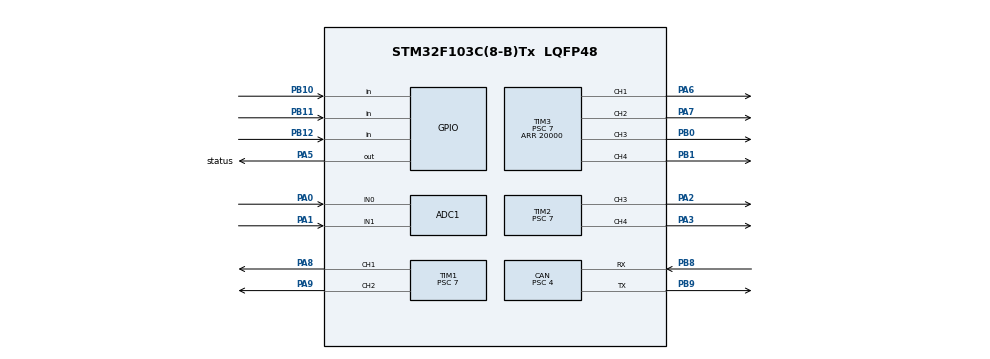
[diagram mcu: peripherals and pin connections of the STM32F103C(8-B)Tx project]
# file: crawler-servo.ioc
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ADC1.Channel-0\#ChannelRegularConversion=ADC_CHANNEL_0
ADC1.Channel-1\#ChannelRegularConversion=ADC_CHANNEL_1
ADC1.NbrOfConversion=2
ADC1.NbrOfConversionFlag=1
ADC1.Rank-0\#ChannelRegularConversion=1
ADC1.Rank-1\#ChannelRegularConversion=2
ADC1.SamplingTime-0\#ChannelRegularConversion=ADC_SAMPLETIME_1CYCLE_5
ADC1.SamplingTime-1\#ChannelRegularConversion=ADC_SAMPLETIME_1CYCLE_5
ADC1.master=1
CAN.BS1=CAN_BS1_2TQ
CAN.CalculateBaudRate=500000
CAN.CalculateTimeBit=2000
CAN.CalculateTimeQuantum=500.0
CAN.Prescaler=4
Dma.ADC1.0.Direction=DMA_PERIPH_TO_MEMORY
Dma.ADC1.0.Instance=DMA1_Channel1
Dma.ADC1.0.MemDataAlignment=DMA_MDATAALIGN_WORD
Dma.ADC1.0.MemInc=DMA_MINC_ENABLE
Dma.ADC1.0.Mode=DMA_CIRCULAR
Dma.ADC1.0.PeriphDataAlignment=DMA_PDATAALIGN_HALFWORD
Dma.ADC1.0.PeriphInc=DMA_PINC_DISABLE
Dma.ADC1.0.Priority=DMA_PRIORITY_LOW
Dma.Request0=ADC1
Mcu.Family=STM32F1
Mcu.Name=STM32F103C(8-B)Tx
Mcu.Package=LQFP48
NVIC.DMA1_Channel1_IRQn=true\:0\:0\:false\:false\:true\:false\:true\:true
NVIC.PriorityGroup=NVIC_PRIORITYGROUP_4
NVIC.USB_LP_CAN1_RX0_IRQn=true\:0\:0\:false\:false\:true\:true\:true\:true
PA0-WKUP.Signal=ADCx_IN0
PA1.Signal=ADCx_IN1
PA2.Signal=S_TIM2_CH3
PA3.Signal=S_TIM2_CH4
PA5.GPIO_Label=status
PA5.Signal=GPIO_Output
PA6.Signal=S_TIM3_CH1
PA7.Signal=S_TIM3_CH2
PA8.Signal=S_TIM1_CH1
PA9.Signal=S_TIM1_CH2
PB0.Signal=S_TIM3_CH3
PB1.Signal=S_TIM3_CH4
PB10.GPIO_PuPd=GPIO_PULLUP
PB10.Signal=GPIO_Input
PB11.GPIO_PuPd=GPIO_PULLUP
PB11.Signal=GPIO_Input
PB12.GPIO_PuPd=GPIO_PULLUP
PB12.Signal=GPIO_Input
PB8.Mode=CAN_Activate
PB8.Signal=CAN_RX
PB9.Mode=CAN_Activate
PB9.Signal=CAN_TX
PD0-OSC_IN.Mode=HSE-External-Oscillator
PD0-OSC_IN.Signal=RCC_OSC_IN
PD1-OSC_OUT.Mode=HSE-External-Oscillator
PD1-OSC_OUT.Signal=RCC_OSC_OUT
ProjectManager.HeapSize=0x200
ProjectManager.StackSize=0x400
ProjectManager.TargetToolchain=Makefile
RCC.APB1Freq_Value=8000000
RCC.APB1TimFreq_Value=8000000
RCC.APB2Freq_Value=8000000
SH.ADCx_IN0.0=ADC1_IN0,IN0
SH.ADCx_IN1.0=ADC1_IN1,IN1
SH.S_TIM1_CH1.0=TIM1_CH1,PWM Generation1 CH1
SH.S_TIM1_CH2.0=TIM1_CH2,PWM Generation2 CH2
SH.S_TIM2_CH3.0=TIM2_CH3,PWM Generation3 CH3
SH.S_TIM2_CH4.0=TIM2_CH4,PWM Generation4 CH4
SH.S_TIM3_CH1.0=TIM3_CH1,PWM Generation1 CH1
SH.S_TIM3_CH2.0=TIM3_CH2,PWM Generation2 CH2
SH.S_TIM3_CH3.0=TIM3_CH3,PWM Generation3 CH3
SH.S_TIM3_CH4.0=TIM3_CH4,PWM Generation4 CH4
TIM1.Channel-PWM\ Generation1\ CH1=TIM_CHANNEL_1
TIM1.Channel-PWM\ Generation2\ CH2=TIM_CHANNEL_2
TIM1.ClockDivision=TIM_CLOCKDIVISION_DIV1
TIM1.Period=20000
TIM1.Prescaler=7
TIM1.Pulse-PWM\ Generation1\ CH1=1500
TIM1.Pulse-PWM\ Generation2\ CH2=1500
TIM2.Channel-PWM\ Generation3\ CH3=TIM_CHANNEL_3
TIM2.Channel-PWM\ Generation4\ CH4=TIM_CHANNEL_4
TIM2.Period=20000
TIM2.Prescaler=7
TIM3.Channel-PWM\ Generation1\ CH1=TIM_CHANNEL_1
TIM3.Channel-PWM\ Generation2\ CH2=TIM_CHANNEL_2
TIM3.Channel-PWM\ Generation3\ CH3=TIM_CHANNEL_3
TIM3.Channel-PWM\ Generation4\ CH4=TIM_CHANNEL_4
TIM3.Period=20000
TIM3.Prescaler=7
VP_SYS_VS_ND.Mode=No_Debug
VP_TIM1_VS_ClockSourceINT.Mode=Internal
VP_TIM2_VS_ClockSourceINT.Mode=Internal
VP_TIM3_VS_ClockSourceINT.Mode=Internal
board=custom

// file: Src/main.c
/* USER CODE BEGIN Header */
/**
  ******************************************************************************
  * @file           : main.c
  * @brief          : Main program body
  ******************************************************************************
  * @attention
  *
  * Copyright (c) 2023 STMicroelectronics.
  * All rights reserved.
  *
  * This software is licensed under terms that can be found in the LICENSE file
  * in the root directory of this software component.
  * If no LICENSE file comes with this software, it is provided AS-IS.
  *
  ******************************************************************************
  */
/* USER CODE END Header */
#include "main.h"

/* USER CODE BEGIN PD */
#define BASE_CHANNEL_ID 0x010 //TODO: Read from DIP switches
#define N_CHANNELS 8
#define SERVO_CENTER 1500
#define SAFETY_TIMEOUT 2000
#define CAN_MESSAGES 2 //number of different messages to send over CAN bus

/* USER CODE END PD */

ADC_HandleTypeDef hadc1;
DMA_HandleTypeDef hdma_adc1;

CAN_HandleTypeDef hcan;

TIM_HandleTypeDef htim1;
TIM_HandleTypeDef htim2;
TIM_HandleTypeDef htim3;

/* USER CODE BEGIN PV */
//CAN bus
CAN_RxHeaderTypeDef rxHeader; //Transmit Header
CAN_TxHeaderTypeDef txHeader; //Receive Header
uint8_t canRX[8] = {0,0,0,0,0,0,0,0};  //Receive Buffer
CAN_FilterTypeDef canfil; //Filter
uint32_t canMailbox; //Mail box variable

//Servo
uint32_t servoLastUpdated[N_CHANNELS] = {0}; //timestamps for timeout

//ADC
uint32_t ADCResults[2] = {0,0}; //ADC results
/* USER CODE END PV */

void SystemClock_Config(void);
static void MX_GPIO_Init(void);
static void MX_DMA_Init(void);
static void MX_ADC1_Init(void);
static void MX_CAN_Init(void);
static void MX_TIM1_Init(void);
static void MX_TIM2_Init(void);
static void MX_TIM3_Init(void);
/* USER CODE BEGIN PFP */
void setServo(uint8_t channel, uint16_t value);

/* USER CODE END PFP */

int main(void)
{

  /* MCU Configuration--------------------------------------------------------*/

  /* Reset of all peripherals, Initializes the Flash interface and the Systick. */
  HAL_Init();

  /* Configure the system clock */
  SystemClock_Config();

  /* Initialize all configured peripherals */
  MX_GPIO_Init();
  MX_DMA_Init();
  MX_ADC1_Init();
  MX_CAN_Init();
  MX_TIM1_Init();
  MX_TIM2_Init();
  MX_TIM3_Init();
  /* USER CODE BEGIN 2 */

  uint32_t CANAddress = (
    HAL_GPIO_ReadPin(GPIOB, GPIO_PIN_10) << 0 |
    HAL_GPIO_ReadPin(GPIOB, GPIO_PIN_11) << 1 |
    HAL_GPIO_ReadPin(GPIOB, GPIO_PIN_12) << 2
    ) << 4;

  //setup servos
  for(int i=0; i<N_CHANNELS; i++)
    setServo(i, SERVO_CENTER);
  /* USER CODE END 2 */

  /* Infinite loop */
  /* USER CODE BEGIN WHILE */
  uint32_t txMailbox;
  while (1)
  {
    HAL_GPIO_WritePin(status_GPIO_Port, status_Pin, GPIO_PIN_SET);

    //transmit status
    if (HAL_CAN_GetTxMailboxesFreeLevel(&hcan) > 0){
            //set address
            static uint8_t TXCounter = 0;
            uint8_t data[2] = {0};
            txHeader.StdId = CANAddress | 0x8 | (TXCounter & 0b111);

            //fetch correct data
            switch(TXCounter){
                case 0: //battery voltage
                    data[0] = ADCResults[0] & 0xff;
                    data[1] = (ADCResults[0]>>8) & 0xff;
                    break;
                case 1: //battery current
                    data[0] = ADCResults[1] & 0xff;
                    data[1] = (ADCResults[1]>>8) & 0xff;
                    break;
            }

            //send
            HAL_CAN_AddTxMessage(&hcan, &txHeader, data, &txMailbox);

            //next address
            TXCounter++;
            if (TXCounter > CAN_MESSAGES-1)
                TXCounter = 0;
    }

    HAL_ADC_Start_DMA(&hadc1, ADCResults, 2); // start adc in DMA mode

    //center any channel that hasn't been updated for a while
    for(int i=0; i<N_CHANNELS; i++){
        if ( (HAL_GetTick() - servoLastUpdated[i]) > SAFETY_TIMEOUT)
            setServo(i, SERVO_CENTER);
    }

    HAL_GPIO_WritePin(status_GPIO_Port, status_Pin, GPIO_PIN_RESET);
    HAL_Delay(1000/(CAN_MESSAGES*3));
    /* USER CODE END WHILE */

  }
}

void SystemClock_Config(void)
{
  RCC_OscInitTypeDef RCC_OscInitStruct = {0};
  RCC_ClkInitTypeDef RCC_ClkInitStruct = {0};
  RCC_PeriphCLKInitTypeDef PeriphClkInit = {0};

  /** Initializes the RCC Oscillators according to the specified parameters
  * in the RCC_OscInitTypeDef structure.
  */
  RCC_OscInitStruct.OscillatorType = RCC_OSCILLATORTYPE_HSI;
  RCC_OscInitStruct.HSIState = RCC_HSI_ON;
  RCC_OscInitStruct.HSICalibrationValue = RCC_HSICALIBRATION_DEFAULT;
  RCC_OscInitStruct.PLL.PLLState = RCC_PLL_NONE;
  if (HAL_RCC_OscConfig(&RCC_OscInitStruct) != HAL_OK)
  {
    Error_Handler();
  }

  /** Initializes the CPU, AHB and APB buses clocks
  */
  RCC_ClkInitStruct.ClockType = RCC_CLOCKTYPE_HCLK|RCC_CLOCKTYPE_SYSCLK
                              |RCC_CLOCKTYPE_PCLK1|RCC_CLOCKTYPE_PCLK2;
  RCC_ClkInitStruct.SYSCLKSource = RCC_SYSCLKSOURCE_HSI;
  RCC_ClkInitStruct.AHBCLKDivider = RCC_SYSCLK_DIV1;
  RCC_ClkInitStruct.APB1CLKDivider = RCC_HCLK_DIV1;
  RCC_ClkInitStruct.APB2CLKDivider = RCC_HCLK_DIV1;

  if (HAL_RCC_ClockConfig(&RCC_ClkInitStruct, FLASH_LATENCY_0) != HAL_OK)
  {
    Error_Handler();
  }
  PeriphClkInit.PeriphClockSelection = RCC_PERIPHCLK_ADC;
  PeriphClkInit.AdcClockSelection = RCC_ADCPCLK2_DIV2;
  if (HAL_RCCEx_PeriphCLKConfig(&PeriphClkInit) != HAL_OK)
  {
    Error_Handler();
  }
}

static void MX_ADC1_Init(void)
{

  ADC_ChannelConfTypeDef sConfig = {0};

  /** Common config
  */
  hadc1.Instance = ADC1;
  hadc1.Init.ScanConvMode = ADC_SCAN_ENABLE;
  hadc1.Init.ContinuousConvMode = DISABLE;
  hadc1.Init.DiscontinuousConvMode = DISABLE;
  hadc1.Init.ExternalTrigConv = ADC_SOFTWARE_START;
  hadc1.Init.DataAlign = ADC_DATAALIGN_RIGHT;
  hadc1.Init.NbrOfConversion = 2;
  if (HAL_ADC_Init(&hadc1) != HAL_OK)
  {
    Error_Handler();
  }

  /** Configure Regular Channel
  */
  sConfig.Channel = ADC_CHANNEL_0;
  sConfig.Rank = ADC_REGULAR_RANK_1;
  sConfig.SamplingTime = ADC_SAMPLETIME_1CYCLE_5;
  if (HAL_ADC_ConfigChannel(&hadc1, &sConfig) != HAL_OK)
  {
    Error_Handler();
  }

  /** Configure Regular Channel
  */
  sConfig.Channel = ADC_CHANNEL_1;
  sConfig.Rank = ADC_REGULAR_RANK_2;
  if (HAL_ADC_ConfigChannel(&hadc1, &sConfig) != HAL_OK)
  {
    Error_Handler();
  }

}

static void MX_CAN_Init(void)
{

  hcan.Instance = CAN1;
  hcan.Init.Prescaler = 4;
  hcan.Init.Mode = CAN_MODE_NORMAL;
  hcan.Init.SyncJumpWidth = CAN_SJW_1TQ;
  hcan.Init.TimeSeg1 = CAN_BS1_2TQ;
  hcan.Init.TimeSeg2 = CAN_BS2_1TQ;
  hcan.Init.TimeTriggeredMode = DISABLE;
  hcan.Init.AutoBusOff = DISABLE;
  hcan.Init.AutoWakeUp = DISABLE;
  hcan.Init.AutoRetransmission = DISABLE;
  hcan.Init.ReceiveFifoLocked = DISABLE;
  hcan.Init.TransmitFifoPriority = DISABLE;
  if (HAL_CAN_Init(&hcan) != HAL_OK)
  {
    Error_Handler();
  }
  /* USER CODE BEGIN CAN_Init 2 */
  txHeader.DLC = 8;
  txHeader.IDE = CAN_ID_STD;
  txHeader.RTR = CAN_RTR_DATA;
  txHeader.StdId = BASE_CHANNEL_ID | 0x8;
  txHeader.ExtId = 0x02;
  txHeader.TransmitGlobalTime = DISABLE;
  canfil.FilterBank = 0;
  canfil.FilterMode = CAN_FILTERMODE_IDMASK;
  canfil.FilterFIFOAssignment = CAN_RX_FIFO0;
  //canfil.FilterIdHigh = BASE_CHANNEL_ID << 5 ; //no idea why this works
  canfil.FilterIdHigh = 0;
  canfil.FilterIdLow = 0;
  //canfil.FilterMaskIdHigh = BASE_CHANNEL_ID << 5 ; //no idea why this works
  canfil.FilterMaskIdHigh = 0;
  canfil.FilterMaskIdLow = 0;
  canfil.FilterScale = CAN_FILTERSCALE_32BIT;
  canfil.FilterActivation = ENABLE;
  canfil.SlaveStartFilterBank = 14;
  HAL_CAN_ConfigFilter(&hcan,&canfil); //Initialize CAN Filter
  HAL_CAN_Start(&hcan); //Initialize CAN Bus
  HAL_CAN_ActivateNotification(&hcan,CAN_IT_RX_FIFO0_MSG_PENDING);// Initialize CAN Bus Rx Interrupt
  /* USER CODE END CAN_Init 2 */

}

static void MX_TIM1_Init(void)
{

  TIM_ClockConfigTypeDef sClockSourceConfig = {0};
  TIM_MasterConfigTypeDef sMasterConfig = {0};
  TIM_OC_InitTypeDef sConfigOC = {0};
  TIM_BreakDeadTimeConfigTypeDef sBreakDeadTimeConfig = {0};

  htim1.Instance = TIM1;
  htim1.Init.Prescaler = 7;
  htim1.Init.CounterMode = TIM_COUNTERMODE_UP;
  htim1.Init.Period = 20000;
  htim1.Init.ClockDivision = TIM_CLOCKDIVISION_DIV1;
  htim1.Init.RepetitionCounter = 0;
  htim1.Init.AutoReloadPreload = TIM_AUTORELOAD_PRELOAD_DISABLE;
  if (HAL_TIM_Base_Init(&htim1) != HAL_OK)
  {
    Error_Handler();
  }
  sClockSourceConfig.ClockSource = TIM_CLOCKSOURCE_INTERNAL;
  if (HAL_TIM_ConfigClockSource(&htim1, &sClockSourceConfig) != HAL_OK)
  {
    Error_Handler();
  }
  if (HAL_TIM_PWM_Init(&htim1) != HAL_OK)
  {
    Error_Handler();
  }
  sMasterConfig.MasterOutputTrigger = TIM_TRGO_RESET;
  sMasterConfig.MasterSlaveMode = TIM_MASTERSLAVEMODE_DISABLE;
  if (HAL_TIMEx_MasterConfigSynchronization(&htim1, &sMasterConfig) != HAL_OK)
  {
    Error_Handler();
  }
  sConfigOC.OCMode = TIM_OCMODE_PWM1;
  sConfigOC.Pulse = 1500;
  sConfigOC.OCPolarity = TIM_OCPOLARITY_HIGH;
  sConfigOC.OCNPolarity = TIM_OCNPOLARITY_HIGH;
  sConfigOC.OCFastMode = TIM_OCFAST_DISABLE;
  sConfigOC.OCIdleState = TIM_OCIDLESTATE_RESET;
  sConfigOC.OCNIdleState = TIM_OCNIDLESTATE_RESET;
  if (HAL_TIM_PWM_ConfigChannel(&htim1, &sConfigOC, TIM_CHANNEL_1) != HAL_OK)
  {
    Error_Handler();
  }
  if (HAL_TIM_PWM_ConfigChannel(&htim1, &sConfigOC, TIM_CHANNEL_2) != HAL_OK)
  {
    Error_Handler();
  }
  sBreakDeadTimeConfig.OffStateRunMode = TIM_OSSR_DISABLE;
  sBreakDeadTimeConfig.OffStateIDLEMode = TIM_OSSI_DISABLE;
  sBreakDeadTimeConfig.LockLevel = TIM_LOCKLEVEL_OFF;
  sBreakDeadTimeConfig.DeadTime = 0;
  sBreakDeadTimeConfig.BreakState = TIM_BREAK_DISABLE;
  sBreakDeadTimeConfig.BreakPolarity = TIM_BREAKPOLARITY_HIGH;
  sBreakDeadTimeConfig.AutomaticOutput = TIM_AUTOMATICOUTPUT_DISABLE;
  if (HAL_TIMEx_ConfigBreakDeadTime(&htim1, &sBreakDeadTimeConfig) != HAL_OK)
  {
    Error_Handler();
  }
  /* USER CODE BEGIN TIM1_Init 2 */
  HAL_TIM_Base_Start_IT(&htim1);
  HAL_TIM_PWM_Start(&htim1, TIM_CHANNEL_1);
  HAL_TIM_PWM_Start(&htim1, TIM_CHANNEL_2);
  /* USER CODE END TIM1_Init 2 */
  HAL_TIM_MspPostInit(&htim1);

}

static void MX_TIM2_Init(void)
{

  TIM_ClockConfigTypeDef sClockSourceConfig = {0};
  TIM_MasterConfigTypeDef sMasterConfig = {0};
  TIM_OC_InitTypeDef sConfigOC = {0};

  htim2.Instance = TIM2;
  htim2.Init.Prescaler = 7;
  htim2.Init.CounterMode = TIM_COUNTERMODE_UP;
  htim2.Init.Period = 20000;
  htim2.Init.ClockDivision = TIM_CLOCKDIVISION_DIV1;
  htim2.Init.AutoReloadPreload = TIM_AUTORELOAD_PRELOAD_DISABLE;
  if (HAL_TIM_Base_Init(&htim2) != HAL_OK)
  {
    Error_Handler();
  }
  sClockSourceConfig.ClockSource = TIM_CLOCKSOURCE_INTERNAL;
  if (HAL_TIM_ConfigClockSource(&htim2, &sClockSourceConfig) != HAL_OK)
  {
    Error_Handler();
  }
  if (HAL_TIM_PWM_Init(&htim2) != HAL_OK)
  {
    Error_Handler();
  }
  sMasterConfig.MasterOutputTrigger = TIM_TRGO_RESET;
  sMasterConfig.MasterSlaveMode = TIM_MASTERSLAVEMODE_DISABLE;
  if (HAL_TIMEx_MasterConfigSynchronization(&htim2, &sMasterConfig) != HAL_OK)
  {
    Error_Handler();
  }
  sConfigOC.OCMode = TIM_OCMODE_PWM1;
  sConfigOC.Pulse = 0;
  sConfigOC.OCPolarity = TIM_OCPOLARITY_HIGH;
  sConfigOC.OCFastMode = TIM_OCFAST_DISABLE;
  if (HAL_TIM_PWM_ConfigChannel(&htim2, &sConfigOC, TIM_CHANNEL_3) != HAL_OK)
  {
    Error_Handler();
  }
  if (HAL_TIM_PWM_ConfigChannel(&htim2, &sConfigOC, TIM_CHANNEL_4) != HAL_OK)
  {
    Error_Handler();
  }
  /* USER CODE BEGIN TIM2_Init 2 */
  HAL_TIM_Base_Start_IT(&htim2);
  HAL_TIM_PWM_Start(&htim2, TIM_CHANNEL_3);
  HAL_TIM_PWM_Start(&htim2, TIM_CHANNEL_4);
  /* USER CODE END TIM2_Init 2 */
  HAL_TIM_MspPostInit(&htim2);

}

static void MX_TIM3_Init(void)
{

  TIM_ClockConfigTypeDef sClockSourceConfig = {0};
  TIM_MasterConfigTypeDef sMasterConfig = {0};
  TIM_OC_InitTypeDef sConfigOC = {0};

  htim3.Instance = TIM3;
  htim3.Init.Prescaler = 7;
  htim3.Init.CounterMode = TIM_COUNTERMODE_UP;
  htim3.Init.Period = 20000;
  htim3.Init.ClockDivision = TIM_CLOCKDIVISION_DIV1;
  htim3.Init.AutoReloadPreload = TIM_AUTORELOAD_PRELOAD_DISABLE;
  if (HAL_TIM_Base_Init(&htim3) != HAL_OK)
  {
    Error_Handler();
  }
  sClockSourceConfig.ClockSource = TIM_CLOCKSOURCE_INTERNAL;
  if (HAL_TIM_ConfigClockSource(&htim3, &sClockSourceConfig) != HAL_OK)
  {
    Error_Handler();
  }
  if (HAL_TIM_PWM_Init(&htim3) != HAL_OK)
  {
    Error_Handler();
  }
  sMasterConfig.MasterOutputTrigger = TIM_TRGO_RESET;
  sMasterConfig.MasterSlaveMode = TIM_MASTERSLAVEMODE_DISABLE;
  if (HAL_TIMEx_MasterConfigSynchronization(&htim3, &sMasterConfig) != HAL_OK)
  {
    Error_Handler();
  }
  sConfigOC.OCMode = TIM_OCMODE_PWM1;
  sConfigOC.Pulse = 0;
  sConfigOC.OCPolarity = TIM_OCPOLARITY_HIGH;
  sConfigOC.OCFastMode = TIM_OCFAST_DISABLE;
  if (HAL_TIM_PWM_ConfigChannel(&htim3, &sConfigOC, TIM_CHANNEL_1) != HAL_OK)
  {
    Error_Handler();
  }
  if (HAL_TIM_PWM_ConfigChannel(&htim3, &sConfigOC, TIM_CHANNEL_2) != HAL_OK)
  {
    Error_Handler();
  }
  if (HAL_TIM_PWM_ConfigChannel(&htim3, &sConfigOC, TIM_CHANNEL_3) != HAL_OK)
  {
    Error_Handler();
  }
  if (HAL_TIM_PWM_ConfigChannel(&htim3, &sConfigOC, TIM_CHANNEL_4) != HAL_OK)
  {
    Error_Handler();
  }
  /* USER CODE BEGIN TIM3_Init 2 */
  HAL_TIM_Base_Start_IT(&htim3);
  HAL_TIM_PWM_Start(&htim3, TIM_CHANNEL_1);
  HAL_TIM_PWM_Start(&htim3, TIM_CHANNEL_2);
  HAL_TIM_PWM_Start(&htim3, TIM_CHANNEL_3);
  HAL_TIM_PWM_Start(&htim3, TIM_CHANNEL_4);
  /* USER CODE END TIM3_Init 2 */
  HAL_TIM_MspPostInit(&htim3);

}

static void MX_DMA_Init(void)
{

  /* DMA controller clock enable */
  __HAL_RCC_DMA1_CLK_ENABLE();

  /* DMA interrupt init */
  /* DMA1_Channel1_IRQn interrupt configuration */
  HAL_NVIC_SetPriority(DMA1_Channel1_IRQn, 0, 0);
  HAL_NVIC_EnableIRQ(DMA1_Channel1_IRQn);

}

static void MX_GPIO_Init(void)
{
  GPIO_InitTypeDef GPIO_InitStruct = {0};

  /* GPIO Ports Clock Enable */
  __HAL_RCC_GPIOD_CLK_ENABLE();
  __HAL_RCC_GPIOA_CLK_ENABLE();
  __HAL_RCC_GPIOB_CLK_ENABLE();

  /*Configure GPIO pin Output Level */
  HAL_GPIO_WritePin(status_GPIO_Port, status_Pin, GPIO_PIN_RESET);

  /*Configure GPIO pin : status_Pin */
  GPIO_InitStruct.Pin = status_Pin;
  GPIO_InitStruct.Mode = GPIO_MODE_OUTPUT_PP;
  GPIO_InitStruct.Pull = GPIO_NOPULL;
  GPIO_InitStruct.Speed = GPIO_SPEED_FREQ_LOW;
  HAL_GPIO_Init(status_GPIO_Port, &GPIO_InitStruct);

  /*Configure GPIO pins : PB10 PB11 PB12 */
  GPIO_InitStruct.Pin = GPIO_PIN_10|GPIO_PIN_11|GPIO_PIN_12;
  GPIO_InitStruct.Mode = GPIO_MODE_INPUT;
  GPIO_InitStruct.Pull = GPIO_PULLUP;
  HAL_GPIO_Init(GPIOB, &GPIO_InitStruct);

}

/* USER CODE BEGIN 4 */
//interrupt for received CAN frame
void HAL_CAN_RxFifo0MsgPendingCallback(CAN_HandleTypeDef *hcan1)
{
    //inform user of received data
    HAL_GPIO_WritePin(status_GPIO_Port, status_Pin, GPIO_PIN_SET);

    //get CAN bus message to canRX buffer
    HAL_CAN_GetRxMessage(hcan1, CAN_RX_FIFO0, &rxHeader, canRX);

    //match arbitration ID to pwm channel
    uint8_t channel = rxHeader.StdId & 0x7;

    //combine bytes
    uint16_t value = canRX[0]<<8 | canRX[1];

    setServo(channel, value);
}

void setServo(uint8_t channel, uint16_t value){
    //match to timer channels
    switch(channel){
        case 0:
            TIM1->CCR1 = value; //PA8
            break;
        case 1:
            TIM1->CCR2 = value; //PA9
            break;
        case 2:
            TIM2->CCR3 = value; //PA2
            break;
        case 3:
            TIM2->CCR4 = value; //PA3
            break;
        case 4:
            TIM3->CCR1 = value; //PA6
            break;
        case 5:
            TIM3->CCR2 = value; //PA7
            break;
        case 6:
            TIM3->CCR3 = value; //PB0
            break;
        case 7:
            TIM3->CCR4 = value; //PB1
            break;
    }
    servoLastUpdated[channel] = HAL_GetTick(); //update for timeout
}

/* USER CODE END 4 */

void Error_Handler(void)
{
  /* USER CODE BEGIN Error_Handler_Debug */
  /* User can add his own implementation to report the HAL error return state */
  __disable_irq();

  //set all channels to middle position
  for(uint8_t channel = 0; channel < N_CHANNELS; channel++)
    setServo(channel, SERVO_CENTER);

  while (1)
  {
    HAL_GPIO_TogglePin(status_GPIO_Port, status_Pin);
    HAL_Delay(1000);
  }
  /* USER CODE END Error_Handler_Debug */
}
